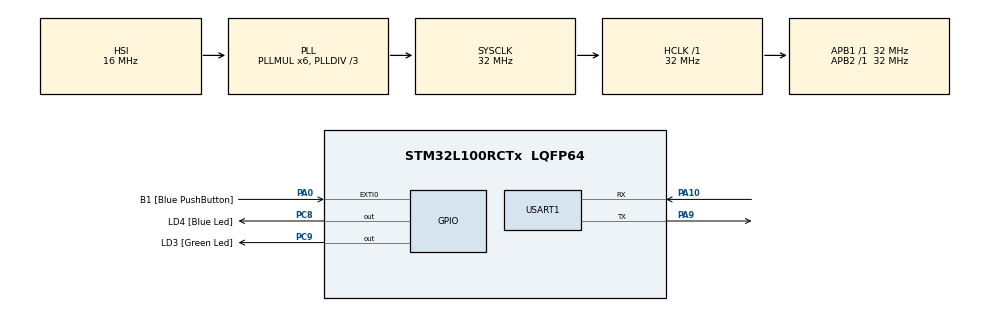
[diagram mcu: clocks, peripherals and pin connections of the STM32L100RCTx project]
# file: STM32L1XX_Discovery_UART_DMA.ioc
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Dma.Request0=USART1_RX
Dma.Request1=USART1_TX
Dma.USART1_RX.0.Direction=DMA_PERIPH_TO_MEMORY
Dma.USART1_RX.0.Instance=DMA1_Channel5
Dma.USART1_RX.0.MemDataAlignment=DMA_MDATAALIGN_BYTE
Dma.USART1_RX.0.MemInc=DMA_MINC_ENABLE
Dma.USART1_RX.0.Mode=DMA_CIRCULAR
Dma.USART1_RX.0.PeriphDataAlignment=DMA_PDATAALIGN_BYTE
Dma.USART1_RX.0.PeriphInc=DMA_PINC_DISABLE
Dma.USART1_RX.0.Priority=DMA_PRIORITY_LOW
Dma.USART1_TX.1.Direction=DMA_MEMORY_TO_PERIPH
Dma.USART1_TX.1.Instance=DMA1_Channel4
Dma.USART1_TX.1.MemDataAlignment=DMA_MDATAALIGN_BYTE
Dma.USART1_TX.1.MemInc=DMA_MINC_ENABLE
Dma.USART1_TX.1.Mode=DMA_NORMAL
Dma.USART1_TX.1.PeriphDataAlignment=DMA_PDATAALIGN_BYTE
Dma.USART1_TX.1.PeriphInc=DMA_PINC_DISABLE
Dma.USART1_TX.1.Priority=DMA_PRIORITY_LOW
Mcu.Family=STM32L1
Mcu.Name=STM32L100RCTx
Mcu.Package=LQFP64
NVIC.DMA1_Channel4_IRQn=true\:0\:0\:false\:false\:true
NVIC.DMA1_Channel5_IRQn=true\:0\:0\:false\:false\:true
NVIC.PriorityGroup=NVIC_PRIORITYGROUP_0
PA0-WKUP1.GPIO_Label=B1 [Blue PushButton]
PA0-WKUP1.GPIO_ModeDefaultEXTI=GPIO_MODE_EVT_RISING
PA0-WKUP1.Signal=GPXTI0
PA10.Mode=Asynchronous
PA10.Signal=USART1_RX
PA13.GPIO_Label=SWDIO
PA13.Signal=SYS_JTMS-SWDIO
PA14.GPIO_Label=SWCLK
PA14.Signal=SYS_JTCK-SWCLK
PA9.Mode=Asynchronous
PA9.Signal=USART1_TX
PB3.GPIO_Label=SWO
PB3.Signal=SYS_JTDO-TRACESWO
PC14-OSC32_IN.GPIO_Label=PC14-OSC32_IN
PC14-OSC32_IN.Signal=RCC_OSC32_IN
PC15-OSC32_OUT.GPIO_Label=PC15-OSC32_OUT
PC15-OSC32_OUT.Signal=RCC_OSC32_OUT
PC8.GPIO_Label=LD4 [Blue Led]
PC8.Signal=GPIO_Output
PC9.GPIO_Label=LD3 [Green Led]
PC9.Signal=GPIO_Output
PH0-OSC_IN.GPIO_Label=PH0-OSC_IN
PH0-OSC_IN.Signal=RCC_OSC_IN
PH1-OSC_OUT.GPIO_Label=PH1-OSC_OUT
PH1-OSC_OUT.Signal=RCC_OSC_OUT
ProjectManager.HeapSize=0x200
ProjectManager.StackSize=0x400
ProjectManager.TargetToolchain=SW4STM32
RCC.AHBFreq_Value=32000000
RCC.APB1Freq_Value=32000000
RCC.APB1TimFreq_Value=32000000
RCC.APB2Freq_Value=32000000
RCC.APB2TimFreq_Value=32000000
RCC.HCLKFreq_Value=32000000
RCC.HSE_VALUE=8000000
RCC.HSI_VALUE=16000000
RCC.LSEState=RCC_LSE_ON
RCC.LSE_VALUE=32768
RCC.MSI_VALUE=2097000
RCC.PLLDIV=RCC_PLL_DIV3
RCC.PLLMUL=RCC_PLL_MUL6
RCC.RTCClockSelectionVirtual=RCC_RTCCLKSOURCE_LSE
RCC.SYSCLKFreq_VALUE=32000000
RCC.SYSCLKSource=RCC_SYSCLKSOURCE_PLLCLK
RCC.USBOutput=48000000
RCC.VCOOutputFreq_Value=96000000
board=STM32L100C-DISCO

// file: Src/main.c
/**
  ******************************************************************************
  * File Name          : main.c
  * Description        : Main program body
  ******************************************************************************
  *
  * COPYRIGHT(c) 2016 STMicroelectronics
  *
  * Redistribution and use in source and binary forms, with or without modification,
  * are permitted provided that the following conditions are met:
  *   1. Redistributions of source code must retain the above copyright notice,
  *      this list of conditions and the following disclaimer.
  *   2. Redistributions in binary form must reproduce the above copyright notice,
  *      this list of conditions and the following disclaimer in the documentation
  *      and/or other materials provided with the distribution.
  *   3. Neither the name of STMicroelectronics nor the names of its contributors
  *      may be used to endorse or promote products derived from this software
  *      without specific prior written permission.
  *
  * THIS SOFTWARE IS PROVIDED BY THE COPYRIGHT HOLDERS AND CONTRIBUTORS "AS IS"
  * AND ANY EXPRESS OR IMPLIED WARRANTIES, INCLUDING, BUT NOT LIMITED TO, THE
  * IMPLIED WARRANTIES OF MERCHANTABILITY AND FITNESS FOR A PARTICULAR PURPOSE ARE
  * DISCLAIMED. IN NO EVENT SHALL THE COPYRIGHT HOLDER OR CONTRIBUTORS BE LIABLE
  * FOR ANY DIRECT, INDIRECT, INCIDENTAL, SPECIAL, EXEMPLARY, OR CONSEQUENTIAL
  * DAMAGES (INCLUDING, BUT NOT LIMITED TO, PROCUREMENT OF SUBSTITUTE GOODS OR
  * SERVICES; LOSS OF USE, DATA, OR PROFITS; OR BUSINESS INTERRUPTION) HOWEVER
  * CAUSED AND ON ANY THEORY OF LIABILITY, WHETHER IN CONTRACT, STRICT LIABILITY,
  * OR TORT (INCLUDING NEGLIGENCE OR OTHERWISE) ARISING IN ANY WAY OUT OF THE USE
  * OF THIS SOFTWARE, EVEN IF ADVISED OF THE POSSIBILITY OF SUCH DAMAGE.
  *
  ******************************************************************************
  */
#include "stm32l1xx_hal.h"
#include "dma.h"
#include "usart.h"
#include "gpio.h"

/* USER CODE BEGIN Includes */
#include<stdio.h>
#include<stdlib.h>
/* USER CODE END Includes */

/* USER CODE BEGIN PV */
/* Private variables ---------------------------------------------------------*/

/* USER CODE END PV */

void SystemClock_Config(void);
void Error_Handler(void);

/* USER CODE BEGIN PFP */
/* Private function prototypes -----------------------------------------------*/
void delay_ms(unsigned long x);               //delay milliseconds function
/* USER CODE END PFP */

/* USER CODE BEGIN 0 */
uint8_t serial_data[3]={0};                     //data buffer
/* USER CODE END 0 */

int main(void)
{

  /* USER CODE BEGIN 1 */
  initialise_monitor_handles();                      //to enable debug printf()
  /* USER CODE END 1 */

  /* MCU Configuration----------------------------------------------------------*/

  /* Reset of all peripherals, Initializes the Flash interface and the Systick. */
  HAL_Init();

  /* Configure the system clock */
  SystemClock_Config();

  /* Initialize all configured peripherals */
  MX_GPIO_Init();
  MX_DMA_Init();
  MX_USART1_UART_Init();

  /* USER CODE BEGIN 2 */
  HAL_GPIO_WritePin(GPIOC, LD3_Pin, GPIO_PIN_SET);             //system ready LED
  printf("DMA-Based UART Communication Program\n");

  HAL_UART_Receive_DMA(&huart1, serial_data, 3);              //receive data continuously in circular mode
  /* USER CODE END 2 */

  /* Infinite loop */
  while (1)
  {

  }

}

/** System Clock Configuration
*/
void SystemClock_Config(void)
{

  RCC_OscInitTypeDef RCC_OscInitStruct;
  RCC_ClkInitTypeDef RCC_ClkInitStruct;

  __HAL_RCC_PWR_CLK_ENABLE();

  __HAL_PWR_VOLTAGESCALING_CONFIG(PWR_REGULATOR_VOLTAGE_SCALE1);

  RCC_OscInitStruct.OscillatorType = RCC_OSCILLATORTYPE_HSI;
  RCC_OscInitStruct.HSIState = RCC_HSI_ON;
  RCC_OscInitStruct.HSICalibrationValue = 16;
  RCC_OscInitStruct.PLL.PLLState = RCC_PLL_ON;
  RCC_OscInitStruct.PLL.PLLSource = RCC_PLLSOURCE_HSI;
  RCC_OscInitStruct.PLL.PLLMUL = RCC_PLL_MUL6;
  RCC_OscInitStruct.PLL.PLLDIV = RCC_PLL_DIV3;
  if (HAL_RCC_OscConfig(&RCC_OscInitStruct) != HAL_OK)
  {
    Error_Handler();
  }

  RCC_ClkInitStruct.ClockType = RCC_CLOCKTYPE_HCLK|RCC_CLOCKTYPE_SYSCLK
                              |RCC_CLOCKTYPE_PCLK1|RCC_CLOCKTYPE_PCLK2;
  RCC_ClkInitStruct.SYSCLKSource = RCC_SYSCLKSOURCE_PLLCLK;
  RCC_ClkInitStruct.AHBCLKDivider = RCC_SYSCLK_DIV1;
  RCC_ClkInitStruct.APB1CLKDivider = RCC_HCLK_DIV1;
  RCC_ClkInitStruct.APB2CLKDivider = RCC_HCLK_DIV1;
  if (HAL_RCC_ClockConfig(&RCC_ClkInitStruct, FLASH_LATENCY_1) != HAL_OK)
  {
    Error_Handler();
  }

  HAL_SYSTICK_Config(HAL_RCC_GetHCLKFreq()/1000);

  HAL_SYSTICK_CLKSourceConfig(SYSTICK_CLKSOURCE_HCLK);

  /* SysTick_IRQn interrupt configuration */
  HAL_NVIC_SetPriority(SysTick_IRQn, 0, 0);
}

/* USER CODE BEGIN 4 */
//delay milliseconds function
void delay_ms(unsigned long x)
{
  unsigned long i;
  unsigned int j;
  for(i=0; i<x; i++)
  {
	for(j=0; j<2500; j++)
	{
	  asm("NOP");
	}
  }
}

//callback functions for UART (called by DMA IRQ Handlers)
//add user code for interrupt routine here
void HAL_UART_TxCpltCallback(UART_HandleTypeDef *huart)
{

}

void HAL_UART_RxCpltCallback(UART_HandleTypeDef *huart)
{
  HAL_UART_Transmit(&huart1, serial_data, 3, HAL_MAX_DELAY);             //transmit data

  //printf("Data received. Sending stuff back...\n");                      //indicate execution of interrupt
  //printf() slows down the ISR; if data is continuously streamed in without stopping, we will lose data
}

void HAL_UART_ErrorCallback(UART_HandleTypeDef *huart)
{

}
/* USER CODE END 4 */

void Error_Handler(void)
{
  while(1)
  {
  }
}

/************************ (C) COPYRIGHT STMicroelectronics *****END OF FILE****/
